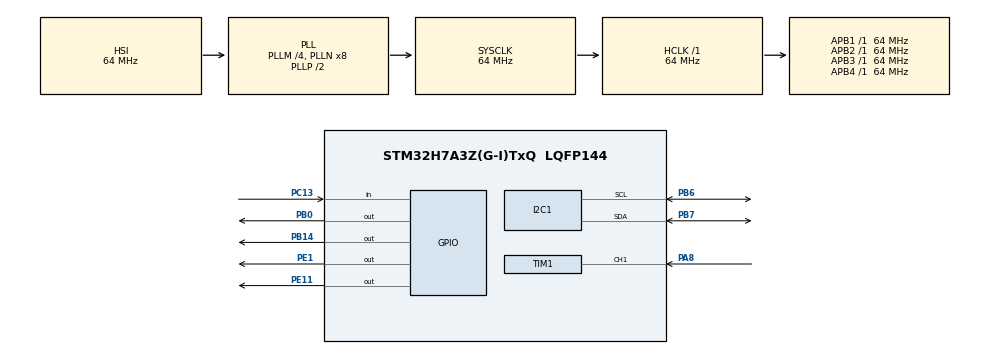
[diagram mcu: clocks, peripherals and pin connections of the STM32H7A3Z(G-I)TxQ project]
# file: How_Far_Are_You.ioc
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CORTEX_M7.default_mode_Activation=1
Mcu.Family=STM32H7
Mcu.Name=STM32H7A3Z(G-I)TxQ
Mcu.Package=LQFP144
NUCLEO-H7A3ZI-Q.BUTTON=1
NUCLEO-H7A3ZI-Q.LD1=true
NUCLEO-H7A3ZI-Q.LD2=true
NUCLEO-H7A3ZI-Q.LD3=true
NUCLEO-H7A3ZI-Q.VCP=true
NVIC.EXTI15_10_IRQn=true\:0\:0\:false\:false\:true\:false\:true\:true
NVIC.PriorityGroup=NVIC_PRIORITYGROUP_4
NVIC.TIM1_CC_IRQn=true\:0\:0\:false\:false\:true\:true\:true\:true
PA8.Signal=S_TIM1_CH1
PB0.Signal=GPIO_Output
PB14.Signal=GPIO_Output
PB6.Mode=I2C
PB6.Signal=I2C1_SCL
PB7.Mode=I2C
PB7.Signal=I2C1_SDA
PC13.Signal=GPIO_Input
PC14-OSC32_IN.GPIO_Label=OSC32_IN
PC14-OSC32_IN.Signal=RCC_OSC32_IN
PC15-OSC32_OUT.GPIO_Label=OSC32_OUT
PC15-OSC32_OUT.Signal=RCC_OSC32_OUT
PD8.Signal=USART3_TX
PD9.Signal=USART3_RX
PE1.Signal=GPIO_Output
PE11.Signal=GPIO_Output
PH0-OSC_IN.GPIO_Label=PH0-MCU
PH0-OSC_IN.Signal=RCC_OSC_IN
PH1-OSC_OUT.GPIO_Label=PH1-MCU
PH1-OSC_OUT.Signal=RCC_OSC_OUT
ProjectManager.HeapSize=0x200
ProjectManager.StackSize=0x400
ProjectManager.TargetToolchain=STM32CubeIDE
RCC.ADCFreq_Value=129000000
RCC.APB1Freq_Value=64000000
RCC.APB2Freq_Value=64000000
RCC.APB3Freq_Value=64000000
RCC.APB4Freq_Value=64000000
RCC.CortexFreq_Value=64000000
RCC.DIVM1=4
RCC.DIVM3=1
RCC.DIVN1=8
RCC.DIVN3=24
RCC.DIVQ1=4
RCC.HCLKFreq_Value=64000000
RCC.HSE_VALUE=8000000
RCC.PLLFRACN=0
RCC.PWR_Regulator_Voltage_Scale=PWR_REGULATOR_VOLTAGE_SCALE0
RCC.SYSCLKFreq_VALUE=64000000
RCC.SYSCLKSource=RCC_SYSCLKSOURCE_PLLCLK
RCC.SupplySource=PWR_DIRECT_SMPS_SUPPLY
RCC.USBCLockSelection=RCC_USBCLKSOURCE_HSI48
RCC.USBFreq_Value=48000000
SH.S_TIM1_CH1.0=TIM1_CH1,Input_Capture1_from_TI1
TIM1.Channel-Input_Capture1_from_TI1=TIM_CHANNEL_1
TIM1.Period=0xffff-1
TIM1.Prescaler=72-1
VP_MEMORYMAP_VS_MEMORYMAP.Mode=CurAppReg
VP_NUCLEO-H7A3ZI-Q_VS_BSP_COMMON.Mode=COMMON
board=NUCLEO-H7A3ZI-Q

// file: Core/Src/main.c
/* USER CODE BEGIN Header */
/**
  ******************************************************************************
  * @file           : main.c
  * @brief          : Main program body
  ******************************************************************************
  * @attention
  *
  * Copyright (c) 2026 STMicroelectronics.
  * All rights reserved.
  *
  * This software is licensed under terms that can be found in the LICENSE file
  * in the root directory of this software component.
  * If no LICENSE file comes with this software, it is provided AS-IS.
  *
  ******************************************************************************
  */
/* USER CODE END Header */
#include "main.h"

/* USER CODE BEGIN PD */
#define SLAVE_ADDRESS_LCD 0x4E

uint32_t IC_Val1;
uint32_t IC_Val2;
double Difference;
double Distance;
/* USER CODE END PD */

COM_InitTypeDef BspCOMInit;

I2C_HandleTypeDef hi2c1;

TIM_HandleTypeDef htim1;

void SystemClock_Config(void);
static void MPU_Config(void);
static void MX_GPIO_Init(void);
static void MX_I2C1_Init(void);
static void MX_TIM1_Init(void);

/* USER CODE BEGIN 0 */
void delay (uint16_t time)
{
	__HAL_TIM_SET_COUNTER(&htim1, 0);
	while (__HAL_TIM_GET_COUNTER (&htim1) < time);
}

/* USER CODE END 0 */

int main(void)
{

  /* MPU Configuration--------------------------------------------------------*/
  MPU_Config();

  /* MCU Configuration--------------------------------------------------------*/

  /* Reset of all peripherals, Initializes the Flash interface and the Systick. */
  HAL_Init();

  /* Configure the system clock */
  SystemClock_Config();

  /* Initialize all configured peripherals */
  MX_GPIO_Init();
  MX_I2C1_Init();
  MX_TIM1_Init();

  /* Initialize leds */
  BSP_LED_Init(LED_GREEN);
  BSP_LED_Init(LED_YELLOW);
  BSP_LED_Init(LED_RED);

  /* Initialize USER push-button, will be used to trigger an interrupt each time it's pressed.*/
  BSP_PB_Init(BUTTON_USER, BUTTON_MODE_EXTI);

  /* Initialize COM1 port (115200, 8 bits (7-bit data + 1 stop bit), no parity */
  BspCOMInit.BaudRate   = 115200;
  BspCOMInit.WordLength = COM_WORDLENGTH_8B;
  BspCOMInit.StopBits   = COM_STOPBITS_1;
  BspCOMInit.Parity     = COM_PARITY_NONE;
  BspCOMInit.HwFlowCtl  = COM_HWCONTROL_NONE;
  if (BSP_COM_Init(COM1, &BspCOMInit) != BSP_ERROR_NONE)
  {
    Error_Handler();
  }

  /* Infinite loop */
  /* USER CODE BEGIN WHILE */
  lcd_init();

  lcd_put_cur(0, 0);
  lcd_send_string("Distance:");

  while (1)
  {
	  display();
  }
  /* USER CODE END 3 */
}

/*display distance*/
void display (void){

	HAL_TIM_IC_Start_IT(&htim1, TIM_CHANNEL_1);
      HCSR04_Read();

      if (Distance < 10)
      {
    	  BSP_LED_On(LED_GREEN);
    	  BSP_LED_Off(LED_RED);
      }
      else
      {
    	  BSP_LED_On(LED_RED);
    	  BSP_LED_Off(LED_GREEN);
      }
      lcd_init();
      char fltChar[7];
      sprintf(fltChar, "%.3f", Distance);
      lcd_put_cur(1, 0);
      lcd_send_string(fltChar);

      HAL_Delay(1000);
      HAL_TIM_IC_Stop_IT(&htim1, TIM_CHANNEL_1);
}
void SystemClock_Config(void)
{
  RCC_OscInitTypeDef RCC_OscInitStruct = {0};
  RCC_ClkInitTypeDef RCC_ClkInitStruct = {0};

  /*AXI clock gating */
  RCC->CKGAENR = 0xE003FFFF;

  /** Supply configuration update enable
  */
  HAL_PWREx_ConfigSupply(PWR_DIRECT_SMPS_SUPPLY);

  /** Configure the main internal regulator output voltage
  */
  __HAL_PWR_VOLTAGESCALING_CONFIG(PWR_REGULATOR_VOLTAGE_SCALE0);

  while(!__HAL_PWR_GET_FLAG(PWR_FLAG_VOSRDY)) {}

  /** Initializes the RCC Oscillators according to the specified parameters
  * in the RCC_OscInitTypeDef structure.
  */
  RCC_OscInitStruct.OscillatorType = RCC_OSCILLATORTYPE_HSI;
  RCC_OscInitStruct.HSIState = RCC_HSI_DIV1;
  RCC_OscInitStruct.HSICalibrationValue = 64;
  RCC_OscInitStruct.PLL.PLLState = RCC_PLL_ON;
  RCC_OscInitStruct.PLL.PLLSource = RCC_PLLSOURCE_HSI;
  RCC_OscInitStruct.PLL.PLLM = 4;
  RCC_OscInitStruct.PLL.PLLN = 8;
  RCC_OscInitStruct.PLL.PLLP = 2;
  RCC_OscInitStruct.PLL.PLLQ = 4;
  RCC_OscInitStruct.PLL.PLLR = 2;
  RCC_OscInitStruct.PLL.PLLRGE = RCC_PLL1VCIRANGE_3;
  RCC_OscInitStruct.PLL.PLLVCOSEL = RCC_PLL1VCOWIDE;
  RCC_OscInitStruct.PLL.PLLFRACN = 0;
  if (HAL_RCC_OscConfig(&RCC_OscInitStruct) != HAL_OK)
  {
    Error_Handler();
  }

  /** Initializes the CPU, AHB and APB buses clocks
  */
  RCC_ClkInitStruct.ClockType = RCC_CLOCKTYPE_HCLK|RCC_CLOCKTYPE_SYSCLK
                              |RCC_CLOCKTYPE_PCLK1|RCC_CLOCKTYPE_PCLK2
                              |RCC_CLOCKTYPE_D3PCLK1|RCC_CLOCKTYPE_D1PCLK1;
  RCC_ClkInitStruct.SYSCLKSource = RCC_SYSCLKSOURCE_PLLCLK;
  RCC_ClkInitStruct.SYSCLKDivider = RCC_SYSCLK_DIV1;
  RCC_ClkInitStruct.AHBCLKDivider = RCC_HCLK_DIV1;
  RCC_ClkInitStruct.APB3CLKDivider = RCC_APB3_DIV1;
  RCC_ClkInitStruct.APB1CLKDivider = RCC_APB1_DIV1;
  RCC_ClkInitStruct.APB2CLKDivider = RCC_APB2_DIV1;
  RCC_ClkInitStruct.APB4CLKDivider = RCC_APB4_DIV1;

  if (HAL_RCC_ClockConfig(&RCC_ClkInitStruct, FLASH_LATENCY_1) != HAL_OK)
  {
    Error_Handler();
  }
}

static void MX_I2C1_Init(void)
{

  hi2c1.Instance = I2C1;
  hi2c1.Init.Timing = 0x10707DBC;
  hi2c1.Init.OwnAddress1 = 0;
  hi2c1.Init.AddressingMode = I2C_ADDRESSINGMODE_7BIT;
  hi2c1.Init.DualAddressMode = I2C_DUALADDRESS_DISABLE;
  hi2c1.Init.OwnAddress2 = 0;
  hi2c1.Init.OwnAddress2Masks = I2C_OA2_NOMASK;
  hi2c1.Init.GeneralCallMode = I2C_GENERALCALL_DISABLE;
  hi2c1.Init.NoStretchMode = I2C_NOSTRETCH_DISABLE;
  if (HAL_I2C_Init(&hi2c1) != HAL_OK)
  {
    Error_Handler();
  }

  /** Configure Analogue filter
  */
  if (HAL_I2CEx_ConfigAnalogFilter(&hi2c1, I2C_ANALOGFILTER_ENABLE) != HAL_OK)
  {
    Error_Handler();
  }

  /** Configure Digital filter
  */
  if (HAL_I2CEx_ConfigDigitalFilter(&hi2c1, 0) != HAL_OK)
  {
    Error_Handler();
  }

}

static void MX_TIM1_Init(void)
{

  TIM_MasterConfigTypeDef sMasterConfig = {0};
  TIM_IC_InitTypeDef sConfigIC = {0};

  htim1.Instance = TIM1;
  htim1.Init.Prescaler = 72-1;
  htim1.Init.CounterMode = TIM_COUNTERMODE_UP;
  htim1.Init.Period = 0xffff-1;
  htim1.Init.ClockDivision = TIM_CLOCKDIVISION_DIV1;
  htim1.Init.RepetitionCounter = 0;
  htim1.Init.AutoReloadPreload = TIM_AUTORELOAD_PRELOAD_DISABLE;
  if (HAL_TIM_IC_Init(&htim1) != HAL_OK)
  {
    Error_Handler();
  }
  sMasterConfig.MasterOutputTrigger = TIM_TRGO_RESET;
  sMasterConfig.MasterOutputTrigger2 = TIM_TRGO2_RESET;
  sMasterConfig.MasterSlaveMode = TIM_MASTERSLAVEMODE_DISABLE;
  if (HAL_TIMEx_MasterConfigSynchronization(&htim1, &sMasterConfig) != HAL_OK)
  {
    Error_Handler();
  }
  sConfigIC.ICPolarity = TIM_INPUTCHANNELPOLARITY_RISING;
  sConfigIC.ICSelection = TIM_ICSELECTION_DIRECTTI;
  sConfigIC.ICPrescaler = TIM_ICPSC_DIV1;
  sConfigIC.ICFilter = 0;
  if (HAL_TIM_IC_ConfigChannel(&htim1, &sConfigIC, TIM_CHANNEL_1) != HAL_OK)
  {
    Error_Handler();
  }

}

static void MX_GPIO_Init(void)
{
  GPIO_InitTypeDef GPIO_InitStruct = {0};

  /* GPIO Ports Clock Enable */
  __HAL_RCC_GPIOC_CLK_ENABLE();
  __HAL_RCC_GPIOH_CLK_ENABLE();
  __HAL_RCC_GPIOE_CLK_ENABLE();
  __HAL_RCC_GPIOA_CLK_ENABLE();
  __HAL_RCC_GPIOB_CLK_ENABLE();

  /*Configure GPIO pin Output Level */
  HAL_GPIO_WritePin(GPIOE, GPIO_PIN_11, GPIO_PIN_RESET);

  /*Configure GPIO pin : PE11 */
  GPIO_InitStruct.Pin = GPIO_PIN_11;
  GPIO_InitStruct.Mode = GPIO_MODE_OUTPUT_PP;
  GPIO_InitStruct.Pull = GPIO_NOPULL;
  GPIO_InitStruct.Speed = GPIO_SPEED_FREQ_LOW;
  HAL_GPIO_Init(GPIOE, &GPIO_InitStruct);

  /* USER CODE BEGIN MX_GPIO_Init_2 */

  /* Configure PA8 as TIM1_CH1 input */
  GPIO_InitStruct.Pin = GPIO_PIN_8;
  GPIO_InitStruct.Mode = GPIO_MODE_AF_PP;
  GPIO_InitStruct.Pull = GPIO_NOPULL;
  GPIO_InitStruct.Speed = GPIO_SPEED_FREQ_LOW;
  GPIO_InitStruct.Alternate = GPIO_AF1_TIM1;
  HAL_GPIO_Init(GPIOA, &GPIO_InitStruct);
  /* USER CODE END MX_GPIO_Init_2 */
}

/* USER CODE BEGIN 4 */

/*LCD Functions*/
void lcd_send_cmd(char cmd)
{
    char data_u = (cmd & 0xF0);           // upper nibble
    char data_l = ((cmd << 4) & 0xF0);   // lower nibble

    uint8_t data_t[4];
    data_t[0] = data_u | 0x0C;   // EN=1, RS=0
    data_t[1] = data_u | 0x08;   // EN=0, RS=0
    data_t[2] = data_l | 0x0C;   // EN=1, RS=0
    data_t[3] = data_l | 0x08;   // EN=0, RS=0

    HAL_I2C_Master_Transmit(&hi2c1, SLAVE_ADDRESS_LCD,(uint8_t *)data_t, 4, 100);
}

void lcd_send_data(char data)
{
    char data_u = (data & 0xF0);
    char data_l = ((data << 4) & 0xF0);
    uint8_t data_t[4];
    data_t[0] = data_u | 0x0D;   // EN=1, RS=1
    data_t[1] = data_u | 0x09;   // EN=0, RS=1
    data_t[2] = data_l | 0x0D;   // EN=1, RS=1
    data_t[3] = data_l | 0x09;   // EN=0, RS=1
    HAL_I2C_Master_Transmit(&hi2c1, SLAVE_ADDRESS_LCD,(uint8_t *)data_t, 4, 100);
}

void lcd_init(void)
{
    HAL_Delay(50);          // >40 ms power-on delay
    lcd_send_cmd(0x30);
    HAL_Delay(5);           // >4.1 ms
    lcd_send_cmd(0x30);
    HAL_Delay(1);           // >100 µs
    lcd_send_cmd(0x30);
    HAL_Delay(10);
    lcd_send_cmd(0x20);     // switch to 4-bit mode

    lcd_send_cmd(0x28);     // 4-bit, 2-line, 5×8 font
    HAL_Delay(1);
    lcd_send_cmd(0x08);     // display OFF
    HAL_Delay(1);
    lcd_send_cmd(0x01);     // clear display
    HAL_Delay(2);
    lcd_send_cmd(0x06);     // entry mode: cursor increment, no shift
    HAL_Delay(1);
    lcd_send_cmd(0x0C);     // display ON, cursor OFF, blink OFF
}

void  lcd_put_cur(int row, int col)
{
    switch (row)
    {
        case 0: col |= 0x80; break;  // DDRAM row 0 starts at 0x00
        case 1: col |= 0xC0; break;  // DDRAM row 1 starts at 0x40
    }
    lcd_send_cmd(col);
}

void lcd_send_string(char *str)
{
    while (*str) lcd_send_data(*str++);
}
/*Ultrasonic Sensor*/
void HCSR04_Read (void)
{
	HAL_GPIO_WritePin(GPIOE, GPIO_PIN_11, GPIO_PIN_SET);  // set pin high
	delay(2);  // wait for 10 us
	HAL_GPIO_WritePin(GPIOE, GPIO_PIN_11, GPIO_PIN_RESET);  // set pin low
	delay(10);

	__HAL_TIM_ENABLE_IT(&htim1, TIM_IT_CC1);
}

/*Rising Edge Detection*/
void HAL_TIM_IC_CaptureCallback(TIM_HandleTypeDef *htim)
  {
	static int Is_First_Captured;
  	if (htim->Channel == HAL_TIM_ACTIVE_CHANNEL_1)  // if the interrupt source is channel1
  	{
  		if (Is_First_Captured==0) // if the first value is not captured
  		{
  			IC_Val1 = HAL_TIM_ReadCapturedValue(htim, TIM_CHANNEL_1); // read the first value
  			Is_First_Captured = 1;  // set the first captured as true
  			// Now change the polarity to falling edge
  			__HAL_TIM_SET_CAPTUREPOLARITY(htim, TIM_CHANNEL_1, TIM_INPUTCHANNELPOLARITY_FALLING);
  		}

  		else if (Is_First_Captured==1)   // if the first is already captured
  		{
  			IC_Val2 = HAL_TIM_ReadCapturedValue(htim, TIM_CHANNEL_1);  // read second value
  			__HAL_TIM_SET_COUNTER(htim, 0);  // reset the counter

  			if (IC_Val2 > IC_Val1)
  			{
  				Difference = IC_Val2-IC_Val1;
  			}

  			else if (IC_Val1 > IC_Val2)
  			{
  				Difference = (0xffff - IC_Val1) + IC_Val2;
  			}

  			Distance = Difference * .034/2;
  			Is_First_Captured = 0; // set it back to false

  			// set polarity to rising edge
  			__HAL_TIM_SET_CAPTUREPOLARITY(htim, TIM_CHANNEL_1, TIM_INPUTCHANNELPOLARITY_RISING);
  			__HAL_TIM_DISABLE_IT(&htim1, TIM_IT_CC1);
  		}
  	}
  }

/* USER CODE END 4 */

 /* MPU Configuration */

void MPU_Config(void)
{
  MPU_Region_InitTypeDef MPU_InitStruct = {0};

  /* Disables the MPU */
  HAL_MPU_Disable();

  /** Initializes and configures the Region and the memory to be protected
  */
  MPU_InitStruct.Enable = MPU_REGION_ENABLE;
  MPU_InitStruct.Number = MPU_REGION_NUMBER0;
  MPU_InitStruct.BaseAddress = 0x0;
  MPU_InitStruct.Size = MPU_REGION_SIZE_4GB;
  MPU_InitStruct.SubRegionDisable = 0x87;
  MPU_InitStruct.TypeExtField = MPU_TEX_LEVEL0;
  MPU_InitStruct.AccessPermission = MPU_REGION_NO_ACCESS;
  MPU_InitStruct.DisableExec = MPU_INSTRUCTION_ACCESS_DISABLE;
  MPU_InitStruct.IsShareable = MPU_ACCESS_SHAREABLE;
  MPU_InitStruct.IsCacheable = MPU_ACCESS_NOT_CACHEABLE;
  MPU_InitStruct.IsBufferable = MPU_ACCESS_NOT_BUFFERABLE;

  HAL_MPU_ConfigRegion(&MPU_InitStruct);
  /* Enables the MPU */
  HAL_MPU_Enable(MPU_PRIVILEGED_DEFAULT);

}

void Error_Handler(void)
{
  __disable_irq();
  while (1)
  {
  }
}
